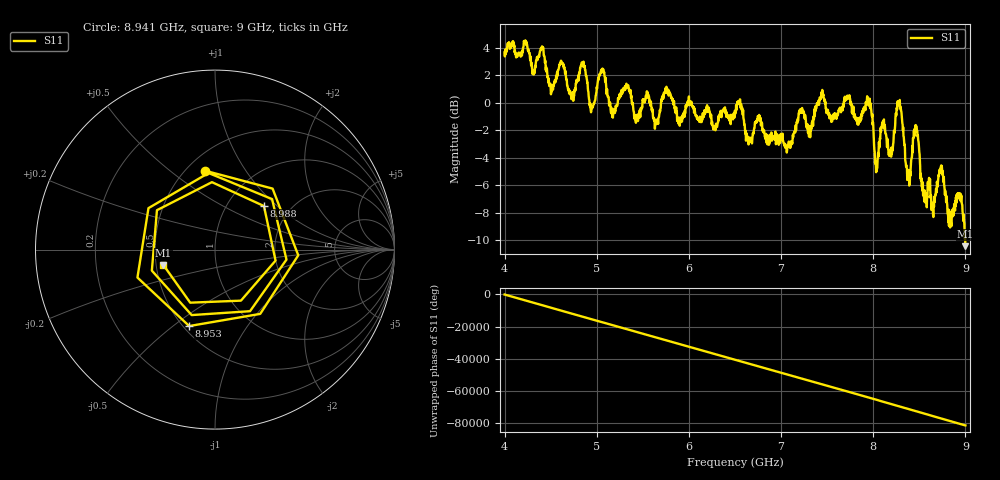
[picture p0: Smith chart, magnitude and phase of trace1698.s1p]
! Created with skrf 1.8.0 (http://scikit-rf.org).
# Hz S RI R 50.0
!freq ReS11 ImS11
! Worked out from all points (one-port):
!   1601 points, 4 GHz to 9 GHz, reference 50 ohm
!   lowest |S11| = -10.5 dB at 9 GHz (marker M1), VSWR 1.86, Z = 27.3 - j5.12 ohm
!   |S11| at or under -10 dB: 8.998135 GHz to end of sweep
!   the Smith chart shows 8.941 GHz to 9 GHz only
!   S11 on the Smith chart (normalised r, x): 8.941 GHz: 0.61, +0.67; 8.953 GHz: 0.54, -0.57; 8.988 GHz: 1.47, +0.83; 9 GHz: 0.55, -0.10
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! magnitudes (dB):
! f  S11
! 4 GHz  3.7
! 4.406 GHz  4.1
! 4.509 GHz  1.0
! 4.625 GHz  2.8
! 4.728 GHz  0.6
! 4.853 GHz  2.6
! 4.947 GHz  -0.4
! 5.056 GHz  2.4
! 5.159 GHz  -0.4
! 5.25 GHz  0.4
! 5.875 GHz  -1.2
! 6.5 GHz  -0.6
! 7.125 GHz  -2.7
! 7.75 GHz  0.3
! 7.956 GHz  -0.1
! 8.034 GHz  -4.6
! 8.103 GHz  -1.4
! 8.194 GHz  -3.9
! 8.281 GHz  0.0
! 8.375 GHz  -5.5
! 8.462 GHz  -2.0
! 8.559 GHz  -6.4
! 8.734 GHz  -4.6
! 8.828 GHz  -8.5
! 8.941 GHz  -7.1
! 8.953 GHz  -6.9
! 8.988 GHz  -8.8
! 9 GHz  -10.5
